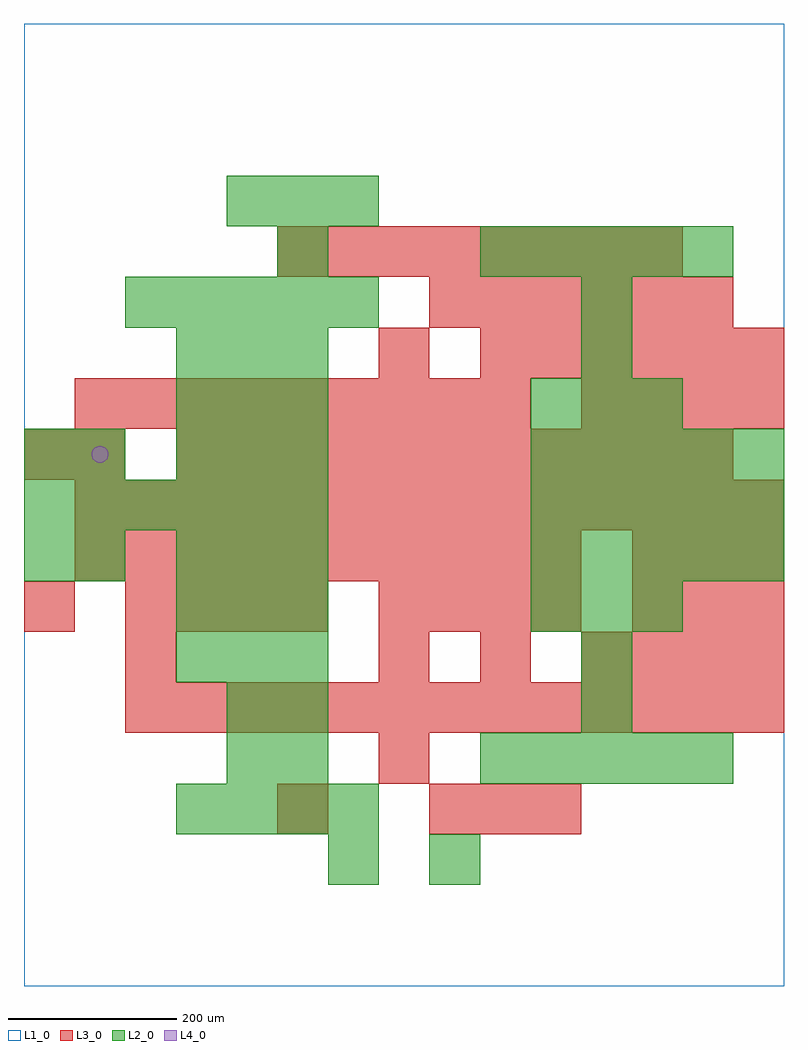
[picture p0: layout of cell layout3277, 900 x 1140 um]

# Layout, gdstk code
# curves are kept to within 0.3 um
import gdstk
lib = gdstk.Library(unit=1e-6, precision=1e-09)
def R(c, l, rs):  # rectangles x0, y0, x1, y1
    for r in rs: c.add(gdstk.rectangle(r[:2], r[2:], *l))
def A(c, l, x, y, w, h, nx, ny, dx, dy):  # array of equal rectangles
    R(c, l, [(x+i*dx, y+j*dy, x+i*dx+w, y+j*dy+h) for i in range(nx) for j in range(ny)])
def P(c, l, *ps):  # polygons
    for p in ps: c.add(gdstk.Polygon(p, *l))
L1_0 = (1, 0)
L2_0 = (2, 0)
L3_0 = (3, 0)
L4_0 = (4, 0)

layout3277 = lib.new_cell('layout3277')
R(layout3277, L1_0, [(0,0,900,1140)])
A(layout3277, L2_0, 180, 180, 60, 60, 4, 1, 60, 0)
A(layout3277, L2_0, 540, 240, 60, 60, 5, 2, 60, 600)
A(layout3277, L2_0, 180, 360, 60, 60, 3, 3, 60, 60)
A(layout3277, L2_0, 600, 420, 60, 60, 3, 2, 60, 240)
A(layout3277, L2_0, 600, 480, 60, 60, 5, 3, 60, 60)
A(layout3277, L2_0, 0, 540, 60, 60, 6, 1, 60, 0)
A(layout3277, L2_0, 180, 600, 60, 60, 3, 3, 60, 60)
A(layout3277, L2_0, 120, 780, 60, 60, 5, 1, 60, 0)
A(layout3277, L2_0, 240, 900, 60, 60, 3, 1, 60, 0)
R(layout3277, L2_0, [(360,120,420,180), (480,120,540,180), (240,240,300,300), (300,240,360,300), (240,300,300,360), (300,300,360,360), (660,300,720,360), (660,360,720,420), (0,480,60,540), (60,480,120,540), (0,600,60,660), (60,600,120,660), (660,720,720,780), (660,780,720,840), (300,840,360,900)])
A(layout3277, L3_0, 480, 180, 60, 60, 3, 1, 60, 0)
A(layout3277, L3_0, 120, 300, 60, 60, 13, 1, 60, 0)
A(layout3277, L3_0, 420, 360, 60, 60, 3, 1, 120, 0)
A(layout3277, L3_0, 720, 360, 60, 60, 3, 3, 60, 60)
A(layout3277, L3_0, 120, 420, 60, 60, 4, 1, 60, 0)
A(layout3277, L3_0, 420, 420, 60, 60, 4, 1, 60, 0)
A(layout3277, L3_0, 60, 480, 60, 60, 10, 1, 60, 0)
A(layout3277, L3_0, 60, 540, 60, 60, 14, 1, 60, 0)
A(layout3277, L3_0, 180, 600, 60, 60, 11, 1, 60, 0)
A(layout3277, L3_0, 60, 660, 60, 60, 9, 1, 60, 0)
A(layout3277, L3_0, 660, 660, 60, 60, 4, 1, 60, 0)
A(layout3277, L3_0, 540, 720, 60, 60, 6, 1, 60, 0)
A(layout3277, L3_0, 480, 780, 60, 60, 6, 1, 60, 0)
A(layout3277, L3_0, 300, 840, 60, 60, 8, 1, 60, 0)
R(layout3277, L3_0, [(300,180,360,240), (420,240,480,300), (120,360,180,420), (0,420,60,480), (0,600,60,660), (60,600,120,660), (420,720,480,780)])
P(layout3277, L4_0, [(100,630),(99.239,633.827),(97.071,637.071),(93.827,639.239),(90,640),(86.173,639.239),(82.929,637.071),(80.761,633.827),(80,630),(80.761,626.173),(82.929,622.929),(86.173,620.761),(90,620),(93.827,620.761),(97.071,622.929),(99.239,626.173)])

lib.write_gds('layout3277.gds')
